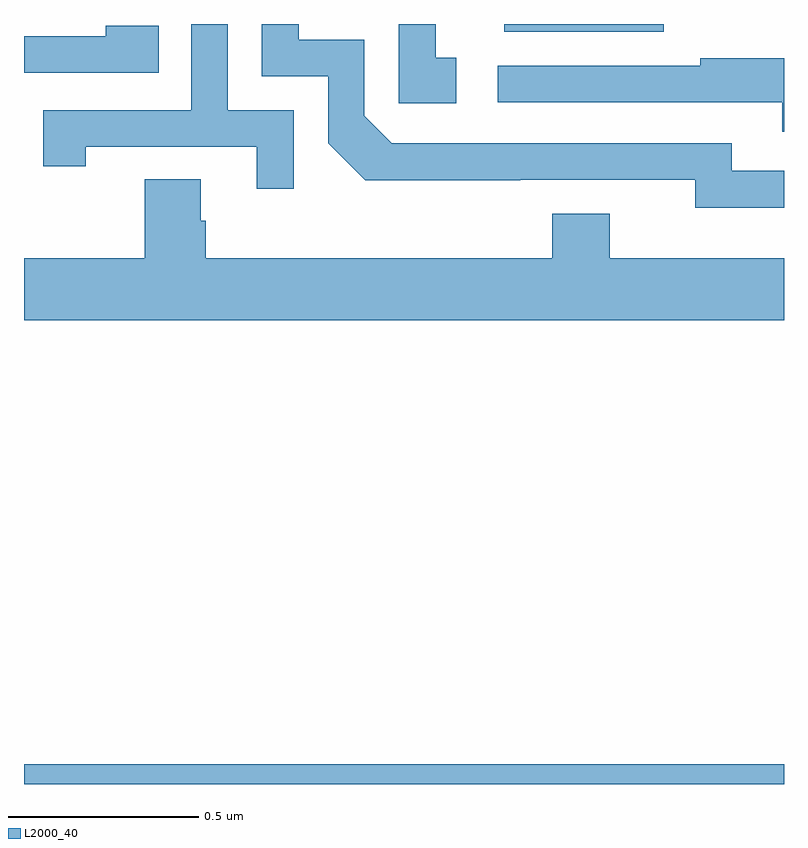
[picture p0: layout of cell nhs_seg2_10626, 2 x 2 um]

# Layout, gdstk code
import gdstk
lib = gdstk.Library(unit=1e-6, precision=1e-09)
def R(c, l, rs):  # rectangles x0, y0, x1, y1
    for r in rs: c.add(gdstk.rectangle(r[:2], r[2:], *l))
def P(c, l, *ps):  # polygons
    for p in ps: c.add(gdstk.Polygon(p, *l))
L2000_40 = (2000, 40)

nhs_seg2_10626 = lib.new_cell('nhs_seg2_10626')
R(nhs_seg2_10626, L2000_40, [(244,595.8,246,595.852), (245.264,597.779,245.683,597.8)])
P(nhs_seg2_10626, L2000_40, [(244.71,597.573),(244.536,597.573),(244.536,597.8),(244.44,597.8),(244.44,597.573),(244.051,597.573),(244.051,597.426),(244.162,597.426),(244.162,597.477),(244.613,597.477),(244.613,597.366),(244.71,597.366)],
  [(245.137,597.711),(245.084,597.711),(245.084,597.8),(244.986,597.8),(244.986,597.591),(245.137,597.591)],
  [(246,597.414),(245.862,597.414),(245.862,597.486),(244.968,597.486),(244.896,597.558),(244.896,597.759),(244.723,597.759),(244.723,597.8),(244.626,597.8),(244.626,597.663),(244.8,597.663),(244.8,597.486),(244.898,597.389),(245.306,597.389),(245.306,597.39),(245.766,597.39),(245.766,597.317),(246,597.317)],
  [(244.355,597.795),(244.215,597.795),(244.215,597.768),(244,597.768),(244,597.672),(244.355,597.672)],
  [(246,597.71),(245.779,597.71),(245.779,597.69),(245.247,597.69),(245.247,597.594),(245.995,597.594),(245.995,597.516),(246,597.516)],
  [(246,597.184),(245.542,597.184),(245.542,597.301),(245.39,597.301),(245.39,597.184),(244.478,597.184),(244.478,597.282),(244.465,597.282),(244.465,597.392),(244.318,597.392),(244.318,597.184),(244,597.184),(244,597.02),(246,597.02)])

lib.write_gds('nhs_seg2_10626.gds')
